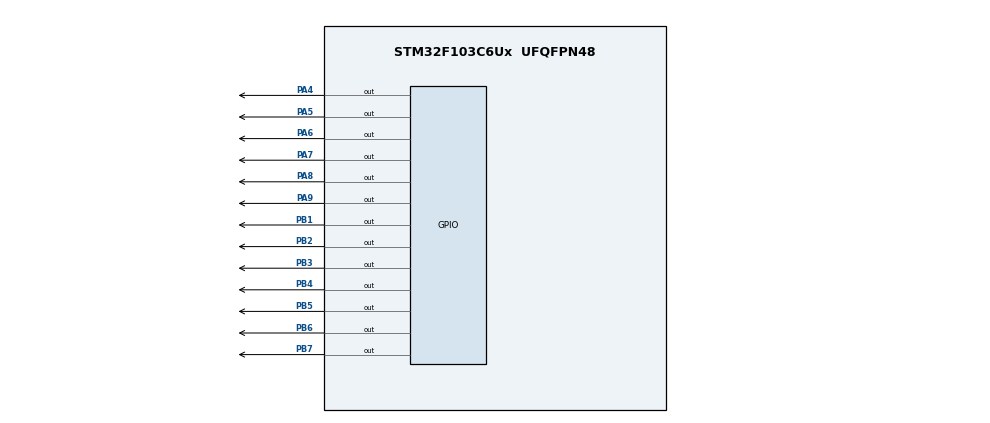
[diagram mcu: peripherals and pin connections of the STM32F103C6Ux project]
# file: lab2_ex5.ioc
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Mcu.Family=STM32F1
Mcu.Name=STM32F103C6Ux
Mcu.Package=UFQFPN48
NVIC.PriorityGroup=NVIC_PRIORITYGROUP_4
PA4.Signal=GPIO_Output
PA5.Signal=GPIO_Output
PA6.Signal=GPIO_Output
PA7.Signal=GPIO_Output
PA8.Signal=GPIO_Output
PA9.Signal=GPIO_Output
PB1.Signal=GPIO_Output
PB2.Signal=GPIO_Output
PB3.Signal=GPIO_Output
PB4.Signal=GPIO_Output
PB5.Signal=GPIO_Output
PB6.Signal=GPIO_Output
PB7.Signal=GPIO_Output
ProjectManager.HeapSize=0x200
ProjectManager.StackSize=0x400
ProjectManager.TargetToolchain=STM32CubeIDE
RCC.APB1Freq_Value=8000000
RCC.APB2Freq_Value=8000000
VP_SYS_VS_ND.Mode=No_Debug
board=custom

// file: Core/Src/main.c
/* USER CODE BEGIN Header */
/**
  ******************************************************************************
  * @file           : main.c
  * @brief          : Main program body
  ******************************************************************************
  * @attention
  *
  * <h2><center>&copy; Copyright (c) 2022 STMicroelectronics.
  * All rights reserved.</center></h2>
  *
  * This software component is licensed by ST under BSD 3-Clause license,
  * the "License"; You may not use this file except in compliance with the
  * License. You may obtain a copy of the License at:
  *                        opensource.org/licenses/BSD-3-Clause
  *
  ******************************************************************************
  */
/* USER CODE END Header */
#include "main.h"

void SystemClock_Config(void);
static void MX_GPIO_Init(void);

int main(void)
{

  /* MCU Configuration--------------------------------------------------------*/

  /* Reset of all peripherals, Initializes the Flash interface and the Systick. */
  HAL_Init();

  /* Configure the system clock */
  SystemClock_Config();

  /* Initialize all configured peripherals */
  MX_GPIO_Init();
  /* USER CODE BEGIN 2 */
  HAL_TIM_Base_Start_IT (& htim2 );
  /* USER CODE END 2 */

  /* Infinite loop */
  /* USER CODE BEGIN WHILE */
  int hour = 15, minute = 8, second = 50;
  while (1)
  {
    /* USER CODE END WHILE */
second++;
if (second > 60){
	second = 0;
	minute++;
}
if (minute >= 60){
	minute = 0;
	hour++;}
if (hour >= 24){
	hour = 0;
}
updateClockBuffer();
HAL_Delay(1000);
}
  }

void SystemClock_Config(void)
{
  RCC_OscInitTypeDef RCC_OscInitStruct = {0};
  RCC_ClkInitTypeDef RCC_ClkInitStruct = {0};

  /** Initializes the RCC Oscillators according to the specified parameters
  * in the RCC_OscInitTypeDef structure.
  */
  RCC_OscInitStruct.OscillatorType = RCC_OSCILLATORTYPE_HSI;
  RCC_OscInitStruct.HSIState = RCC_HSI_ON;
  RCC_OscInitStruct.HSICalibrationValue = RCC_HSICALIBRATION_DEFAULT;
  RCC_OscInitStruct.PLL.PLLState = RCC_PLL_NONE;
  if (HAL_RCC_OscConfig(&RCC_OscInitStruct) != HAL_OK)
  {
    Error_Handler();
  }
  /** Initializes the CPU, AHB and APB buses clocks
  */
  RCC_ClkInitStruct.ClockType = RCC_CLOCKTYPE_HCLK|RCC_CLOCKTYPE_SYSCLK
                              |RCC_CLOCKTYPE_PCLK1|RCC_CLOCKTYPE_PCLK2;
  RCC_ClkInitStruct.SYSCLKSource = RCC_SYSCLKSOURCE_HSI;
  RCC_ClkInitStruct.AHBCLKDivider = RCC_SYSCLK_DIV1;
  RCC_ClkInitStruct.APB1CLKDivider = RCC_HCLK_DIV1;
  RCC_ClkInitStruct.APB2CLKDivider = RCC_HCLK_DIV1;

  if (HAL_RCC_ClockConfig(&RCC_ClkInitStruct, FLASH_LATENCY_0) != HAL_OK)
  {
    Error_Handler();
  }
}

static void MX_GPIO_Init(void)
{
  GPIO_InitTypeDef GPIO_InitStruct = {0};

  /* GPIO Ports Clock Enable */
  __HAL_RCC_GPIOA_CLK_ENABLE();
  __HAL_RCC_GPIOB_CLK_ENABLE();

  /*Configure GPIO pin Output Level */
  HAL_GPIO_WritePin(GPIOA, GPIO_PIN_4|GPIO_PIN_5|GPIO_PIN_6|GPIO_PIN_7
                          |GPIO_PIN_8|GPIO_PIN_9, GPIO_PIN_RESET);

  /*Configure GPIO pin Output Level */
  HAL_GPIO_WritePin(GPIOB, GPIO_PIN_1|GPIO_PIN_2|GPIO_PIN_3|GPIO_PIN_4
                          |GPIO_PIN_5|GPIO_PIN_6|GPIO_PIN_7, GPIO_PIN_RESET);

  /*Configure GPIO pins : PA4 PA5 PA6 PA7
                           PA8 PA9 */
  GPIO_InitStruct.Pin = GPIO_PIN_4|GPIO_PIN_5|GPIO_PIN_6|GPIO_PIN_7
                          |GPIO_PIN_8|GPIO_PIN_9;
  GPIO_InitStruct.Mode = GPIO_MODE_OUTPUT_PP;
  GPIO_InitStruct.Pull = GPIO_NOPULL;
  GPIO_InitStruct.Speed = GPIO_SPEED_FREQ_LOW;
  HAL_GPIO_Init(GPIOA, &GPIO_InitStruct);

  /*Configure GPIO pins : PB1 PB2 PB3 PB4
                           PB5 PB6 PB7 */
  GPIO_InitStruct.Pin = GPIO_PIN_1|GPIO_PIN_2|GPIO_PIN_3|GPIO_PIN_4
                          |GPIO_PIN_5|GPIO_PIN_6|GPIO_PIN_7;
  GPIO_InitStruct.Mode = GPIO_MODE_OUTPUT_PP;
  GPIO_InitStruct.Pull = GPIO_NOPULL;
  GPIO_InitStruct.Speed = GPIO_SPEED_FREQ_LOW;
  HAL_GPIO_Init(GPIOB, &GPIO_InitStruct);

}

/* USER CODE BEGIN 4 */
void display7SEG (int num){
	switch (num){
	case 0 : {
		 HAL_GPIO_WritePin (GPIOB , GPIO_PIN_1 , GPIO_PIN_RESET );
			  	  HAL_GPIO_WritePin (GPIOB , GPIO_PIN_2 , GPIO_PIN_RESET );
			  	  HAL_GPIO_WritePin (GPIOB , GPIO_PIN_3 , GPIO_PIN_RESET );
			  	  HAL_GPIO_WritePin (GPIOB , GPIO_PIN_4 , GPIO_PIN_RESET );
			  	  HAL_GPIO_WritePin (GPIOB , GPIO_PIN_5 , GPIO_PIN_RESET );
			  	  HAL_GPIO_WritePin (GPIOB , GPIO_PIN_6 , GPIO_PIN_RESET );
			  	  HAL_GPIO_WritePin (GPIOB , GPIO_PIN_7 , GPIO_PIN_SET );

		break;
	}
	case 1 :{
		  HAL_GPIO_WritePin (GPIOB , GPIO_PIN_1 , GPIO_PIN_SET );
			  	 HAL_GPIO_WritePin (GPIOB , GPIO_PIN_2 , GPIO_PIN_RESET );
			  	 HAL_GPIO_WritePin (GPIOB , GPIO_PIN_3 , GPIO_PIN_RESET );
			  	 HAL_GPIO_WritePin (GPIOB , GPIO_PIN_4 , GPIO_PIN_SET );
			  	 HAL_GPIO_WritePin (GPIOB , GPIO_PIN_5 , GPIO_PIN_SET );
			  	 HAL_GPIO_WritePin (GPIOB , GPIO_PIN_6 , GPIO_PIN_SET );
			  	 HAL_GPIO_WritePin (GPIOB , GPIO_PIN_7 , GPIO_PIN_SET );
		break;
	}
	case 2  :{
		HAL_GPIO_WritePin (GPIOB , GPIO_PIN_1 , GPIO_PIN_RESET );
	  	 HAL_GPIO_WritePin (GPIOB , GPIO_PIN_2 , GPIO_PIN_RESET );
	  	 HAL_GPIO_WritePin (GPIOB , GPIO_PIN_3 , GPIO_PIN_SET );
	  	 HAL_GPIO_WritePin (GPIOB , GPIO_PIN_4 , GPIO_PIN_RESET );
	  	 HAL_GPIO_WritePin (GPIOB , GPIO_PIN_5 , GPIO_PIN_RESET );
	  	 HAL_GPIO_WritePin (GPIOB , GPIO_PIN_6 , GPIO_PIN_SET );
	  	 HAL_GPIO_WritePin (GPIOB , GPIO_PIN_7 , GPIO_PIN_RESET );
		break;}
	case 3 :{
		 HAL_GPIO_WritePin (GPIOB , GPIO_PIN_1 , GPIO_PIN_RESET );
		  	  	 	 HAL_GPIO_WritePin (GPIOB , GPIO_PIN_2 , GPIO_PIN_RESET );
		  	  	 	 HAL_GPIO_WritePin (GPIOB , GPIO_PIN_3 , GPIO_PIN_RESET );
		  	  	 	 HAL_GPIO_WritePin (GPIOB , GPIO_PIN_4 , GPIO_PIN_RESET );
		  	  	 	 HAL_GPIO_WritePin (GPIOB , GPIO_PIN_5 , GPIO_PIN_SET );
		  	  	 	 HAL_GPIO_WritePin (GPIOB , GPIO_PIN_6 , GPIO_PIN_SET );
		  	  	 	 HAL_GPIO_WritePin (GPIOB , GPIO_PIN_7 , GPIO_PIN_RESET );

		break;}
	case 4  :{
		HAL_GPIO_WritePin (GPIOB , GPIO_PIN_1 , GPIO_PIN_SET );
			  	  	 		 	 HAL_GPIO_WritePin (GPIOB , GPIO_PIN_2 , GPIO_PIN_RESET );
			  	  	 		 	 HAL_GPIO_WritePin (GPIOB , GPIO_PIN_3 , GPIO_PIN_RESET );
			  	  	 		 	 HAL_GPIO_WritePin (GPIOB , GPIO_PIN_4 , GPIO_PIN_SET );
			  	  	 		 	 HAL_GPIO_WritePin (GPIOB , GPIO_PIN_5 , GPIO_PIN_SET );
			  	  	 		 	 HAL_GPIO_WritePin (GPIOB , GPIO_PIN_6 , GPIO_PIN_RESET );
			  	  	 		 	 HAL_GPIO_WritePin (GPIOB , GPIO_PIN_7 , GPIO_PIN_RESET );

		break;}
	case 5  :{
		 HAL_GPIO_WritePin (GPIOB , GPIO_PIN_1 , GPIO_PIN_RESET );
			  	  		 		 	 HAL_GPIO_WritePin (GPIOB , GPIO_PIN_2 , GPIO_PIN_SET );
			  	  		 		 	 HAL_GPIO_WritePin (GPIOB , GPIO_PIN_3 , GPIO_PIN_RESET );
			  	  		 		 	 HAL_GPIO_WritePin (GPIOB , GPIO_PIN_4 , GPIO_PIN_RESET );
			  	  		 		 	 HAL_GPIO_WritePin (GPIOB , GPIO_PIN_5 , GPIO_PIN_SET );
			  	  		 		 	 HAL_GPIO_WritePin (GPIOB , GPIO_PIN_6 , GPIO_PIN_RESET );
			  	  		 		 	 HAL_GPIO_WritePin (GPIOB , GPIO_PIN_7 , GPIO_PIN_RESET );

		break;}
	case 6  :{
		 HAL_GPIO_WritePin (GPIOB , GPIO_PIN_1 , GPIO_PIN_RESET );
			  	  	 	 HAL_GPIO_WritePin (GPIOB , GPIO_PIN_2 , GPIO_PIN_SET );
			  	  	 	HAL_GPIO_WritePin (GPIOB , GPIO_PIN_3 , GPIO_PIN_RESET );
			  	  	 		 	 HAL_GPIO_WritePin (GPIOB , GPIO_PIN_4 , GPIO_PIN_RESET );
			  	  	 		 	 HAL_GPIO_WritePin (GPIOB , GPIO_PIN_5 , GPIO_PIN_RESET );
			  	  	 		 	 HAL_GPIO_WritePin (GPIOB , GPIO_PIN_6 , GPIO_PIN_RESET );
			  	  	 		 	 HAL_GPIO_WritePin (GPIOB , GPIO_PIN_7 , GPIO_PIN_RESET );

		break;}
	case 7  :{
		 HAL_GPIO_WritePin (GPIOB, GPIO_PIN_1 , GPIO_PIN_RESET );
			  	  	 			 	 HAL_GPIO_WritePin (GPIOB, GPIO_PIN_2 , GPIO_PIN_RESET );
			  	  	 			 	 HAL_GPIO_WritePin (GPIOB , GPIO_PIN_3 , GPIO_PIN_RESET );
			  	  	 			 	 HAL_GPIO_WritePin (GPIOB , GPIO_PIN_4 , GPIO_PIN_SET );
			  	  	 			 	 HAL_GPIO_WritePin (GPIOB , GPIO_PIN_5 , GPIO_PIN_SET );
			  	  	 			 	 HAL_GPIO_WritePin (GPIOB , GPIO_PIN_6 , GPIO_PIN_SET );
			  	  	 			 	 HAL_GPIO_WritePin (GPIOB , GPIO_PIN_7 , GPIO_PIN_SET );

		break;}
	case 8  :{
		 HAL_GPIO_WritePin (GPIOB , GPIO_PIN_1 , GPIO_PIN_RESET );
			  	  	 				 	 HAL_GPIO_WritePin (GPIOB , GPIO_PIN_2 , GPIO_PIN_RESET );
			  	  	 				 	 HAL_GPIO_WritePin (GPIOB , GPIO_PIN_3 , GPIO_PIN_RESET );
			  	  	 				 	 HAL_GPIO_WritePin (GPIOB , GPIO_PIN_4 , GPIO_PIN_RESET );
			  	  	 				 	 HAL_GPIO_WritePin (GPIOB , GPIO_PIN_5 , GPIO_PIN_RESET );
			  	  	 				 	 HAL_GPIO_WritePin (GPIOB , GPIO_PIN_6 , GPIO_PIN_RESET );
			  	  	 				 	 HAL_GPIO_WritePin (GPIOB , GPIO_PIN_7 , GPIO_PIN_RESET );

		break;}
	case 9 :{
		 HAL_GPIO_WritePin (GPIOB , GPIO_PIN_1 , GPIO_PIN_RESET );
			  	  	 					 	 HAL_GPIO_WritePin (GPIOB , GPIO_PIN_2 , GPIO_PIN_RESET );
			  	  	 					 	 HAL_GPIO_WritePin (GPIOB , GPIO_PIN_3 , GPIO_PIN_RESET );
			  	  	 					 	 HAL_GPIO_WritePin (GPIOB , GPIO_PIN_4 , GPIO_PIN_SET );
			  	  	 					 	 HAL_GPIO_WritePin (GPIOB , GPIO_PIN_5 , GPIO_PIN_SET );
			  	  	 					 	 HAL_GPIO_WritePin (GPIOB , GPIO_PIN_6 , GPIO_PIN_RESET );
			  	  	 					 	 HAL_GPIO_WritePin (GPIOB , GPIO_PIN_7 , GPIO_PIN_RESET );

			  	  	 					 break;}
	default :{break;}

	}
}
const int MAX_LED = 4;
int index_led = 0;
int led_buffer [10] = {0,1, 2, 3, 4,5,6,7,8,9};
void update7SEG ( int index ){
	switch ( index ){
	case 0:
		 HAL_GPIO_WritePin (GPIOA , GPIO_PIN_7 , GPIO_PIN_SET );
		 HAL_GPIO_WritePin (GPIOA , GPIO_PIN_6 , GPIO_PIN_RESET );
		 HAL_GPIO_WritePin (GPIOA , GPIO_PIN_8 , GPIO_PIN_SET );
		 HAL_GPIO_WritePin (GPIOA , GPIO_PIN_9 , GPIO_PIN_SET );
		display7SEG(led_buffer[0]);
		break;
	case 1:
		 HAL_GPIO_WritePin (GPIOA , GPIO_PIN_7 , GPIO_PIN_RESET );
			 HAL_GPIO_WritePin (GPIOA , GPIO_PIN_6 , GPIO_PIN_SET );
			 HAL_GPIO_WritePin (GPIOA , GPIO_PIN_8 , GPIO_PIN_SET );
			 HAL_GPIO_WritePin (GPIOA , GPIO_PIN_9 , GPIO_PIN_SET );
			display7SEG(led_buffer[1]);
		break;
	case 2:
		 HAL_GPIO_WritePin (GPIOA , GPIO_PIN_7 , GPIO_PIN_SET );
			 HAL_GPIO_WritePin (GPIOA , GPIO_PIN_6 , GPIO_PIN_SET );
			 HAL_GPIO_WritePin (GPIOA , GPIO_PIN_8 , GPIO_PIN_RESET );
			 HAL_GPIO_WritePin (GPIOA , GPIO_PIN_9 , GPIO_PIN_SET );
			display7SEG(led_buffer[2]);
		break;
	case 3:
		 HAL_GPIO_WritePin (GPIOA , GPIO_PIN_7 , GPIO_PIN_SET );
			 HAL_GPIO_WritePin (GPIOA , GPIO_PIN_6 , GPIO_PIN_SET );
			 HAL_GPIO_WritePin (GPIOA , GPIO_PIN_8 , GPIO_PIN_SET );
			 HAL_GPIO_WritePin (GPIOA , GPIO_PIN_9 , GPIO_PIN_RESET );
			display7SEG(led_buffer[3]);
		break;
	default:
		break;
	}
}
void updateClockBuffer(){

}

/* USER CODE END 4 */

void Error_Handler(void)
{
  __disable_irq();
  while (1)
  {
  }
}

/************************ (C) COPYRIGHT STMicroelectronics *****END OF FILE****/
